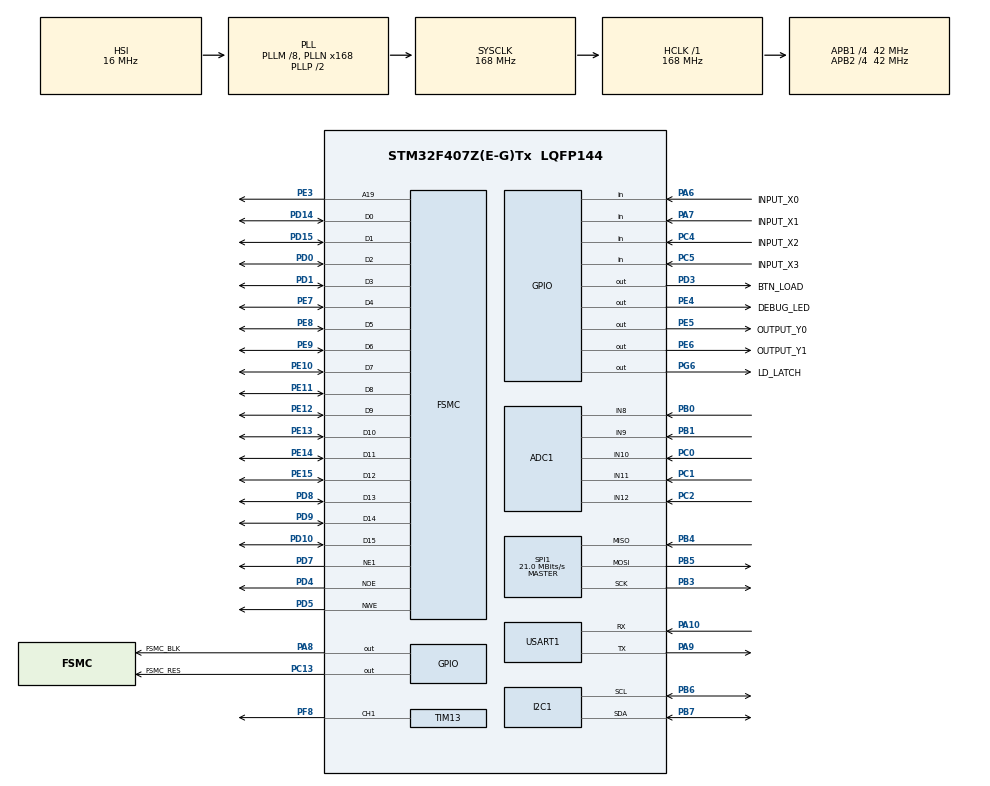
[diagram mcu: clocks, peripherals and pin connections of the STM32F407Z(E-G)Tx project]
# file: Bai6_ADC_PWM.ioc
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ADC1.Channel-0\#ChannelRegularConversion=ADC_CHANNEL_8
ADC1.Channel-1\#ChannelRegularConversion=ADC_CHANNEL_9
ADC1.Channel-2\#ChannelRegularConversion=ADC_CHANNEL_10
ADC1.Channel-3\#ChannelRegularConversion=ADC_CHANNEL_11
ADC1.Channel-4\#ChannelRegularConversion=ADC_CHANNEL_12
ADC1.NbrOfConversion=5
ADC1.NbrOfConversionFlag=1
ADC1.Rank-0\#ChannelRegularConversion=1
ADC1.Rank-1\#ChannelRegularConversion=2
ADC1.Rank-2\#ChannelRegularConversion=3
ADC1.Rank-3\#ChannelRegularConversion=4
ADC1.Rank-4\#ChannelRegularConversion=5
ADC1.SamplingTime-0\#ChannelRegularConversion=ADC_SAMPLETIME_3CYCLES
ADC1.SamplingTime-1\#ChannelRegularConversion=ADC_SAMPLETIME_3CYCLES
ADC1.SamplingTime-2\#ChannelRegularConversion=ADC_SAMPLETIME_3CYCLES
ADC1.SamplingTime-3\#ChannelRegularConversion=ADC_SAMPLETIME_3CYCLES
ADC1.SamplingTime-4\#ChannelRegularConversion=ADC_SAMPLETIME_3CYCLES
ADC1.ScanConvMode=ENABLE
ADC1.master=1
Dma.ADC1.0.Direction=DMA_PERIPH_TO_MEMORY
Dma.ADC1.0.FIFOMode=DMA_FIFOMODE_DISABLE
Dma.ADC1.0.Instance=DMA2_Stream0
Dma.ADC1.0.MemDataAlignment=DMA_MDATAALIGN_HALFWORD
Dma.ADC1.0.MemInc=DMA_MINC_ENABLE
Dma.ADC1.0.Mode=DMA_CIRCULAR
Dma.ADC1.0.PeriphDataAlignment=DMA_PDATAALIGN_HALFWORD
Dma.ADC1.0.PeriphInc=DMA_PINC_DISABLE
Dma.ADC1.0.Priority=DMA_PRIORITY_LOW
Dma.Request0=ADC1
FSMC.AddressSetupTime1=0xf
FSMC.BusTurnAroundDuration1=0
FSMC.DataSetupTime1=60
FSMC.ExtendedAddressSetupTime1=8
FSMC.ExtendedBusTurnAroundDuration1=0
FSMC.ExtendedDataSetupTime1=9
FSMC.ExtendedMode1=FSMC_EXTENDED_MODE_ENABLE
Mcu.Family=STM32F4
Mcu.Name=STM32F407Z(E-G)Tx
Mcu.Package=LQFP144
NVIC.DMA2_Stream0_IRQn=true\:0\:0\:false\:false\:true\:false\:true\:true
NVIC.PriorityGroup=NVIC_PRIORITYGROUP_4
NVIC.TIM2_IRQn=true\:0\:0\:false\:false\:true\:true\:true\:true
NVIC.USART1_IRQn=true\:0\:0\:false\:false\:true\:true\:true\:true
PA10.Mode=Asynchronous
PA10.Signal=USART1_RX
PA13.Mode=Serial_Wire
PA13.Signal=SYS_JTMS-SWDIO
PA14.Mode=Serial_Wire
PA14.Signal=SYS_JTCK-SWCLK
PA6.GPIO_Label=INPUT_X0
PA6.Signal=GPIO_Input
PA7.GPIO_Label=INPUT_X1
PA7.Signal=GPIO_Input
PA8.GPIO_Label=FSMC_BLK
PA8.Signal=GPIO_Output
PA9.Mode=Asynchronous
PA9.Signal=USART1_TX
PB0.Signal=ADCx_IN8
PB1.Signal=ADCx_IN9
PB3.Mode=Full_Duplex_Master
PB3.Signal=SPI1_SCK
PB4.Mode=Full_Duplex_Master
PB4.Signal=SPI1_MISO
PB5.Mode=Full_Duplex_Master
PB5.Signal=SPI1_MOSI
PB6.Mode=I2C
PB6.Signal=I2C1_SCL
PB7.Mode=I2C
PB7.Signal=I2C1_SDA
PC0.Signal=ADCx_IN10
PC1.Signal=ADCx_IN11
PC13-ANTI_TAMP.GPIO_Label=FSMC_RES
PC13-ANTI_TAMP.Signal=GPIO_Output
PC2.Signal=ADCx_IN12
PC4.GPIO_Label=INPUT_X2
PC4.Signal=GPIO_Input
PC5.GPIO_Label=INPUT_X3
PC5.Signal=GPIO_Input
PD0.Signal=FSMC_D2_DA2
PD1.Signal=FSMC_D3_DA3
PD10.Signal=FSMC_D15_DA15
PD14.Signal=FSMC_D0_DA0
PD15.Signal=FSMC_D1_DA1
PD3.GPIO_Label=BTN_LOAD
PD3.Signal=GPIO_Output
PD4.Signal=FSMC_NOE
PD5.Signal=FSMC_NWE
PD7.Mode=NorPsramChipSelect1_1
PD7.Signal=FSMC_NE1
PD8.Signal=FSMC_D13_DA13
PD9.Signal=FSMC_D14_DA14
PE10.Signal=FSMC_D7_DA7
PE11.Signal=FSMC_D8_DA8
PE12.Signal=FSMC_D9_DA9
PE13.Signal=FSMC_D10_DA10
PE14.Signal=FSMC_D11_DA11
PE15.Signal=FSMC_D12_DA12
PE3.Signal=FSMC_A19
PE4.GPIO_Label=DEBUG_LED
PE4.Signal=GPIO_Output
PE5.GPIO_Label=OUTPUT_Y0
PE5.Signal=GPIO_Output
PE6.GPIO_Label=OUTPUT_Y1
PE6.Signal=GPIO_Output
PE7.Signal=FSMC_D4_DA4
PE8.Signal=FSMC_D5_DA5
PE9.Signal=FSMC_D6_DA6
PF8.Signal=S_TIM13_CH1
PG6.GPIO_Label=LD_LATCH
PG6.Signal=GPIO_Output
PH0-OSC_IN.Mode=HSE-External-Oscillator
PH0-OSC_IN.Signal=RCC_OSC_IN
PH1-OSC_OUT.Mode=HSE-External-Oscillator
PH1-OSC_OUT.Signal=RCC_OSC_OUT
ProjectManager.HeapSize=0x200
ProjectManager.StackSize=0x400
ProjectManager.TargetToolchain=STM32CubeIDE
RCC.48MHZClocksFreq_Value=84000000
RCC.AHBFreq_Value=168000000
RCC.APB1CLKDivider=RCC_HCLK_DIV4
RCC.APB1Freq_Value=42000000
RCC.APB1TimFreq_Value=84000000
RCC.APB2CLKDivider=RCC_HCLK_DIV4
RCC.APB2Freq_Value=42000000
RCC.APB2TimFreq_Value=84000000
RCC.CortexFreq_Value=168000000
RCC.HCLKFreq_Value=168000000
RCC.HSE_VALUE=8000000
RCC.HSI_VALUE=16000000
RCC.LSE_VALUE=32768
RCC.PLLM=8
RCC.PLLN=168
RCC.SYSCLKFreq_VALUE=168000000
RCC.SYSCLKSource=RCC_SYSCLKSOURCE_PLLCLK
RCC.VCOOutputFreq_Value=336000000
SH.ADCx_IN10.0=ADC1_IN10,IN10
SH.ADCx_IN11.0=ADC1_IN11,IN11
SH.ADCx_IN12.0=ADC1_IN12,IN12
SH.ADCx_IN8.0=ADC1_IN8,IN8
SH.ADCx_IN9.0=ADC1_IN9,IN9
SH.FSMC_A19.0=FSMC_A19,A19_1
SH.FSMC_D0_DA0.0=FSMC_D0,16b-d1
SH.FSMC_D10_DA10.0=FSMC_D10,16b-d1
SH.FSMC_D11_DA11.0=FSMC_D11,16b-d1
SH.FSMC_D12_DA12.0=FSMC_D12,16b-d1
SH.FSMC_D13_DA13.0=FSMC_D13,16b-d1
SH.FSMC_D14_DA14.0=FSMC_D14,16b-d1
SH.FSMC_D15_DA15.0=FSMC_D15,16b-d1
SH.FSMC_D1_DA1.0=FSMC_D1,16b-d1
SH.FSMC_D2_DA2.0=FSMC_D2,16b-d1
SH.FSMC_D3_DA3.0=FSMC_D3,16b-d1
SH.FSMC_D4_DA4.0=FSMC_D4,16b-d1
SH.FSMC_D5_DA5.0=FSMC_D5,16b-d1
SH.FSMC_D6_DA6.0=FSMC_D6,16b-d1
SH.FSMC_D7_DA7.0=FSMC_D7,16b-d1
SH.FSMC_D8_DA8.0=FSMC_D8,16b-d1
SH.FSMC_D9_DA9.0=FSMC_D9,16b-d1
SH.FSMC_NOE.0=FSMC_NOE,Lcd1
SH.FSMC_NWE.0=FSMC_NWE,Lcd1
SH.S_TIM13_CH1.0=TIM13_CH1,PWM Generation1 CH1
SPI1.BaudRatePrescaler=SPI_BAUDRATEPRESCALER_2
SPI1.CalculateBaudRate=21.0 MBits/s
SPI1.Direction=SPI_DIRECTION_2LINES
SPI1.Mode=SPI_MODE_MASTER
SPI1.VirtualType=VM_MASTER
TIM13.Channel=TIM_CHANNEL_1
TIM13.Period=100-1
TIM13.Prescaler=840-1
TIM2.Period=100-1
TIM2.Prescaler=840-1
USART1.VirtualMode=VM_ASYNC
VP_TIM13_VS_ClockSourceINT.Mode=Enable_Timer
VP_TIM2_VS_ClockSourceINT.Mode=Internal
board=custom

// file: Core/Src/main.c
/* USER CODE BEGIN Header */
/**
  ******************************************************************************
  * @file           : main.c
  * @brief          : Main program body
  ******************************************************************************
  * @attention
  *
  * Copyright (c) 2023 STMicroelectronics.
  * All rights reserved.
  *
  * This software is licensed under terms that can be found in the LICENSE file
  * in the root directory of this software component.
  * If no LICENSE file comes with this software, it is provided AS-IS.
  *
  ******************************************************************************
  */
/* USER CODE END Header */
#include "main.h"
#include "adc.h"
#include "dma.h"
#include "i2c.h"
#include "spi.h"
#include "tim.h"
#include "usart.h"
#include "gpio.h"
#include "fsmc.h"

/* USER CODE BEGIN Includes */
#include "button.h"
#include "buzzer.h"
#include "software_timer.h"
#include "lcd.h"
#include "sensor.h"
#include "uart.h"
#include "ds3231.h"
#include "system.h"

/* USER CODE END Includes */

void SystemClock_Config(void);

/* USER CODE BEGIN 0 */
void sys_init(){
	lcd_init();
	sensor_init();
	buzzer_init();
	button_init();
	uart_init_rs232();
	init_box();
	set_timer(0, READ_BUTTON_TIME);
	set_timer(1, BLINKING_TIME);
	set_timer(2, INCREASE_TIME);
	set_timer(3, LCD_SENSOR_TIME);
	set_timer(4, ONE_SECOND);
	set_timer(5, ONE_SECOND);
	set_timer(6, ONE_SECOND);
	//display_text();
}

/* USER CODE END 0 */

int main(void)
{

  /* MCU Configuration--------------------------------------------------------*/

  /* Reset of all peripherals, Initializes the Flash interface and the Systick. */
  HAL_Init();

  /* Configure the system clock */
  SystemClock_Config();

  /* Initialize all configured peripherals */
  MX_GPIO_Init();
  MX_DMA_Init();
  MX_SPI1_Init();
  MX_FSMC_Init();
  MX_I2C1_Init();
  MX_TIM13_Init();
  MX_TIM2_Init();
  MX_ADC1_Init();
  MX_USART1_UART_Init();
  /* USER CODE BEGIN 2 */
  HAL_TIM_Base_Start_IT(&htim2);
  sys_init();
  /* USER CODE END 2 */
  	// Cập nhật thời gian hiện tại: 19/11/2024 - Thứ 4
  	ds3231_Write(ADDRESS_YEAR, 24);
  	ds3231_Write(ADDRESS_MONTH, 11);
  	ds3231_Write(ADDRESS_DATE, 19);
  	ds3231_Write(ADDRESS_DAY, 4);  // Thứ 4
  	ds3231_Write(ADDRESS_HOUR, 14);
  	ds3231_Write(ADDRESS_MIN, 30);
  	ds3231_Write(ADDRESS_SEC, 0);
  	// Không dùng LED 7-segment - chỉ hiển thị trên LCD
  	// led7_SetColon(1);
  	// led7_init();
  /* Infinite loop */
  /* USER CODE BEGIN WHILE */
  lcd_Clear(WHITE); // Xóa màn hình LCD, nền trắng
  while (1)
  {

	  system_loop();
	  // current_time(); // Không dùng LED 7-segment - chỉ hiển thị trên LCD
    /* USER CODE END WHILE */

  }
}

void SystemClock_Config(void)
{
  RCC_OscInitTypeDef RCC_OscInitStruct = {0};
  RCC_ClkInitTypeDef RCC_ClkInitStruct = {0};

  /** Configure the main internal regulator output voltage
  */
  __HAL_RCC_PWR_CLK_ENABLE();
  __HAL_PWR_VOLTAGESCALING_CONFIG(PWR_REGULATOR_VOLTAGE_SCALE1);

  /** Initializes the RCC Oscillators according to the specified parameters
  * in the RCC_OscInitTypeDef structure.
  */
  RCC_OscInitStruct.OscillatorType = RCC_OSCILLATORTYPE_HSI;
  RCC_OscInitStruct.HSIState = RCC_HSI_ON;
  RCC_OscInitStruct.HSICalibrationValue = RCC_HSICALIBRATION_DEFAULT;
  RCC_OscInitStruct.PLL.PLLState = RCC_PLL_ON;
  RCC_OscInitStruct.PLL.PLLSource = RCC_PLLSOURCE_HSI;
  RCC_OscInitStruct.PLL.PLLM = 8;
  RCC_OscInitStruct.PLL.PLLN = 168;
  RCC_OscInitStruct.PLL.PLLP = RCC_PLLP_DIV2;
  RCC_OscInitStruct.PLL.PLLQ = 4;
  if (HAL_RCC_OscConfig(&RCC_OscInitStruct) != HAL_OK)
  {
    Error_Handler();
  }

  /** Initializes the CPU, AHB and APB buses clocks
  */
  RCC_ClkInitStruct.ClockType = RCC_CLOCKTYPE_HCLK|RCC_CLOCKTYPE_SYSCLK
                              |RCC_CLOCKTYPE_PCLK1|RCC_CLOCKTYPE_PCLK2;
  RCC_ClkInitStruct.SYSCLKSource = RCC_SYSCLKSOURCE_PLLCLK;
  RCC_ClkInitStruct.AHBCLKDivider = RCC_SYSCLK_DIV1;
  RCC_ClkInitStruct.APB1CLKDivider = RCC_HCLK_DIV4;
  RCC_ClkInitStruct.APB2CLKDivider = RCC_HCLK_DIV4;

  if (HAL_RCC_ClockConfig(&RCC_ClkInitStruct, FLASH_LATENCY_5) != HAL_OK)
  {
    Error_Handler();
  }
}

/* USER CODE BEGIN 4 */
// Hiển thị thời gian từ DS3231 lên LED 7-segment
void current_time(){
	// Lấy thời gian thực từ DS3231
	uint8_t hour = ds3231_hours;
	uint8_t minute = ds3231_min;

	// Hiển thị lên LED 7-segment: HH:MM
	led7_SetDigit(hour / 10, 0, 0);
	led7_SetDigit(hour % 10, 1, 0);
	led7_SetDigit(minute / 10, 2, 0);
	led7_SetDigit(minute % 10, 3, 0);
}
/* USER CODE END 4 */

void Error_Handler(void)
{
  __disable_irq();
  while (1)
  {
  }
}
